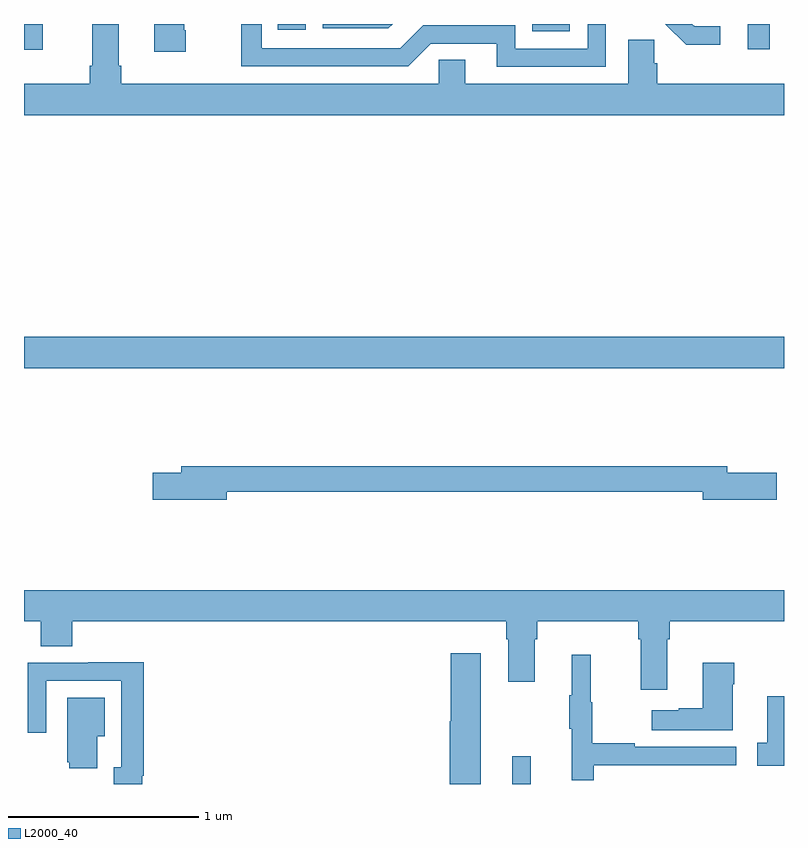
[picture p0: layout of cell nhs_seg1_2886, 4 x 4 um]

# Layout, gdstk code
import gdstk
lib = gdstk.Library(unit=1e-6, precision=1e-09)
def R(c, l, rs):  # rectangles x0, y0, x1, y1
    for r in rs: c.add(gdstk.rectangle(r[:2], r[2:], *l))
def P(c, l, *ps):  # polygons
    for p in ps: c.add(gdstk.Polygon(p, *l))
L2000_40 = (2000, 40)

nhs_seg1_2886 = lib.new_cell('nhs_seg1_2886')
R(nhs_seg1_2886, L2000_40, [(269.57,560.199,269.667,560.344), (267,562.388,271,562.552), (267,564.063,267.098,564.199), (270.809,564.066,270.924,564.199), (269.674,564.161,269.872,564.199), (268.336,564.168,268.482,564.199)])
P(nhs_seg1_2886, L2000_40, [(270.664,564.186),(270.529,564.186),(270.516,564.199),(270.374,564.199),(270.485,564.089),(270.664,564.089)],
  [(271,563.884),(270.332,563.884),(270.332,563.993),(270.318,563.993),(270.318,564.116),(270.179,564.116),(270.179,563.884),(269.323,563.884),(269.323,564.011),(269.184,564.011),(269.184,563.884),(267.512,563.884),(267.512,563.98),(267.499,563.98),(267.499,564.199),(267.359,564.199),(267.359,563.98),(267.347,563.98),(267.347,563.884),(267,563.884),(267,563.72),(271,563.72)],
  [(268.94,564.199),(268.572,564.199),(268.572,564.177),(268.918,564.177)],
  [(270.063,564.199),(269.967,564.199),(269.967,564.069),(269.586,564.069),(269.586,564.192),(269.1,564.192),(268.98,564.072),(268.251,564.072),(268.251,564.199),(268.143,564.199),(268.143,563.976),(269.022,563.976),(269.142,564.096),(269.489,564.096),(269.489,563.973),(270.063,563.973)],
  [(267.852,564.166),(267.844,564.166),(267.844,564.199),(267.686,564.199),(267.686,564.054),(267.852,564.054)],
  [(268.066,561.736),(270.572,561.736),(270.572,561.694),(270.961,561.694),(270.961,561.836),(270.7,561.836),(270.7,561.872),(267.827,561.872),(267.827,561.836),(267.678,561.836),(267.678,561.694),(268.066,561.694)],
  [(270.385,560.96),(270.398,560.96),(270.398,561.056),(271,561.056),(271,561.22),(267,561.22),(267,561.056),(267.089,561.056),(267.089,560.923),(267.254,560.923),(267.254,561.056),(269.537,561.056),(269.537,560.96),(269.549,560.96),(269.549,560.736),(269.689,560.736),(269.689,560.96),(269.702,560.96),(269.702,561.056),(270.233,561.056),(270.233,560.96),(270.245,560.96),(270.245,560.694),(270.385,560.694)],
  [(269.404,560.887),(269.246,560.887),(269.246,560.529),(269.24,560.529),(269.24,560.199),(269.404,560.199)],
  [(269.999,560.298),(270.748,560.298),(270.748,560.394),(270.215,560.394),(270.215,560.414),(269.992,560.414),(269.992,560.628),(269.984,560.628),(269.984,560.878),(269.882,560.878),(269.882,560.665),(269.871,560.665),(269.871,560.491),(269.882,560.491),(269.882,560.22),(269.999,560.22)],
  [(267.622,560.242),(267.629,560.242),(267.629,560.84),(267.337,560.84),(267.337,560.838),(267.021,560.838),(267.021,560.469),(267.117,560.469),(267.117,560.742),(267.513,560.742),(267.513,560.286),(267.473,560.286),(267.473,560.199),(267.622,560.199)],
  [(270.73,560.723),(270.738,560.723),(270.738,560.836),(270.572,560.836),(270.572,560.597),(270.446,560.597),(270.446,560.587),(270.303,560.587),(270.303,560.483),(270.73,560.483)],
  [(271,560.662),(270.911,560.662),(270.911,560.415),(270.858,560.415),(270.858,560.295),(271,560.295)],
  [(267.385,560.45),(267.424,560.45),(267.424,560.653),(267.227,560.653),(267.227,560.313),(267.239,560.313),(267.239,560.282),(267.385,560.282)])

lib.write_gds('nhs_seg1_2886.gds')
